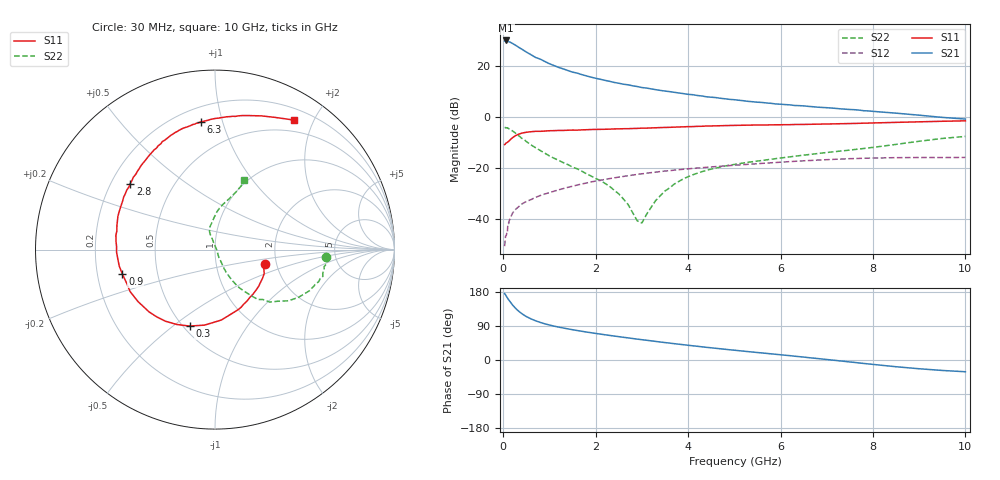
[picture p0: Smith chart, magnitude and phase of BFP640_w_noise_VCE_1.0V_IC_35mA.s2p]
! (c) 2013  Infineon Technologies AG, Munich
! Infineon Technologies  Discrete & RF Semiconductors
! BFP640
! VCE =  1.0 V,  IC =  35 mA
! Common Emitter S-Parameters:  Apr 2013
# GHz  S  MA  R  50
!  f  S11  S21  S12  S22
! GHz  MAG  ANG  MAG  ANG  MAG  ANG  MAG  ANG
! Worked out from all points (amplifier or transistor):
!   99 points, 30 MHz to 10 GHz, reference 50 ohm
!   highest |S21| = 30.0 dB at 60 MHz (marker M1)
!   |S21| within 3 dB of that: start of sweep to 363.6 MHz
!   unconditionally stable (mu >= 1): start of sweep to 145.4 MHz; 939.9 MHz to end of sweep
!   at 350 MHz: K = 0.79, MSG = 31.0 dB, |S12| = -34.8 dB
!   at 3.5 GHz: K = 1.22, MAG = 12.8 dB, |S12| = -21.1 dB
!   at 10 GHz: K = 1.22, MAG = 4.7 dB, |S12| = -15.8 dB
!   lowest NFmin = 1.16 dB at 450 MHz
!   S11 on the Smith chart (normalised r, x): 30 MHz: 1.74, -0.30; 300 MHz: 0.54, -0.57; 900 MHz: 0.31, -0.12; 2.8 GHz: 0.28, +0.32; 6.3 GHz: 0.29, +0.85; 10 GHz: 0.34, +1.73
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0.03  0.2895 -15.9  30.72 175.3  0.003 57.9  0.6215 -3.6
0.06  0.309 -30.7  31.49 169.9  0.0048 52.3  0.6149 -8.9
0.08  0.3178 -40.1  31.23 165.8  0.0056 52.6  0.6142 -12.2
0.12  0.3382 -58.3  29.82 158.5  0.0083 61.1  0.5919 -18.8
0.2  0.3943 -85.0  27.57 145.4  0.0132 58.9  0.5363 -29.7
0.3  0.4489 -108.4  24.31 132.5  0.0167 56.8  0.4541 -39.3
0.35  0.4685 -117.1  22.66 127.2  0.0182 55.3  0.4233 -43.7
0.45  0.4957 -130.8  19.98 118.3  0.0212 54.6  0.3668 -49.3
0.6  0.5176 -146.0  16.6 108.5  0.0244 53.7  0.2865 -54.7
0.7  0.5277 -153.8  14.66 103.5  0.027 53.4  0.2519 -57.5
0.9  0.5339 -165.2  12.23 95.5  0.0314 53.6  0.1973 -60.8
1.2  0.5484 -178.4  9.347 86.8  0.0379 53.4  0.1427 -63.8
1.7  0.5627 166.2  6.768 75.8  0.0493 52.0  0.0876 -63.7
2.2  0.5784 154.4  5.231 66.6  0.0605 49.3  0.0507 -64.1
2.8  0.5987 142.1  4.091 56.7  0.0736 45.4  0.0136 -33.4
3  0.6081 138.3  3.784 53.6  0.0779 43.8  0.0085 39.8
3.4  0.6241 131.1  3.325 47.5  0.0862 40.4  0.0291 97.7
5.1  0.6907 107.9  2.134 24.6  0.1162 26.0  0.123 104.0
6.3  0.717 96.3  1.688 10.1  0.1366 15.8  0.1715 92.7
6.7  0.7253 92.1  1.596 5.1  0.1427 12.1  0.1894 89.8
8.5  0.7888 70.8  1.194 -17.8  0.1612 -6.0  0.2929 74.6
10  0.8453 58.5  0.916 -31.0  0.1628 -16.6  0.4194 67.0
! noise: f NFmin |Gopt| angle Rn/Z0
0.45  1.16  0.22  -170  0.04
0.9  1.17  0.23  -159  0.07
1.5  1.18  0.26  -144  0.08
1.9  1.18  0.27  224  0.1
2.4  1.23  0.29  -122  0.11
3.5  1.36  0.34  -105  0.15
5.5  1.57  0.38  -91  0.23
10  2.02  0.62  -50  0.64
